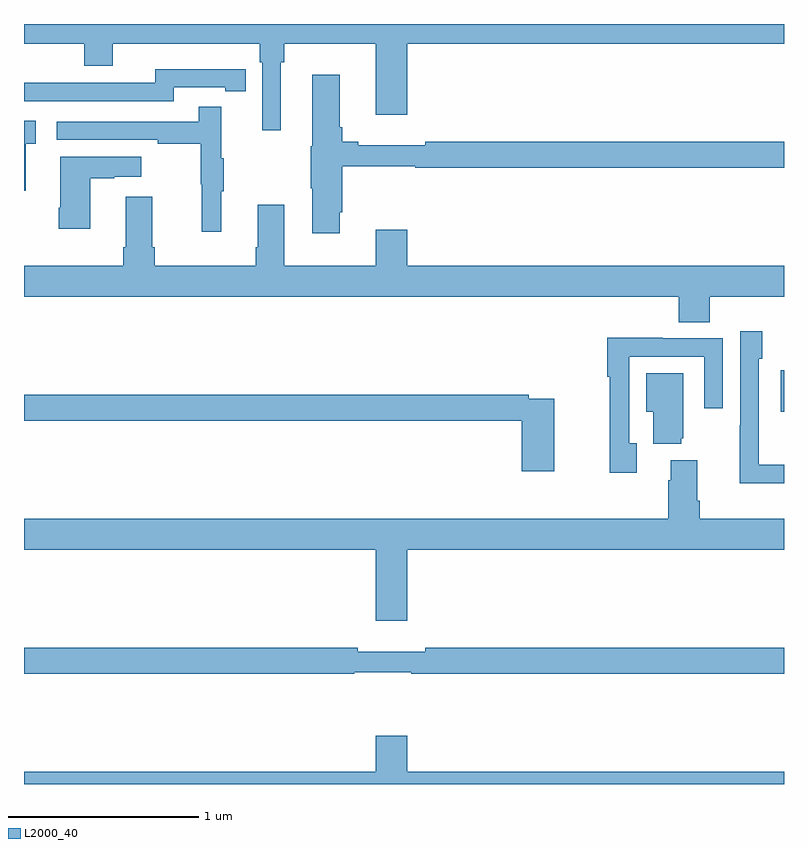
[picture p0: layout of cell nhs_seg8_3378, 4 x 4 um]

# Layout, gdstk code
import gdstk
lib = gdstk.Library(unit=1e-6, precision=1e-09)
def R(c, l, rs):  # rectangles x0, y0, x1, y1
    for r in rs: c.add(gdstk.rectangle(r[:2], r[2:], *l))
def P(c, l, *ps):  # polygons
    for p in ps: c.add(gdstk.Polygon(p, *l))
L2000_40 = (2000, 40)

nhs_seg8_3378 = lib.new_cell('nhs_seg8_3378')
R(nhs_seg8_3378, L2000_40, [(322.982,1151.858,323,1152.077)])
P(nhs_seg8_3378, L2000_40, [(320.35,1153.7),(320.369,1153.7),(320.369,1153.796),(320.852,1153.796),(320.852,1153.422),(321.016,1153.422),(321.016,1153.796),(323,1153.796),(323,1153.9),(319,1153.9),(319,1153.796),(319.316,1153.796),(319.316,1153.679),(319.468,1153.679),(319.468,1153.796),(320.24,1153.796),(320.24,1153.7),(320.253,1153.7),(320.253,1153.341),(320.35,1153.341)],
  [(319.788,1153.566),(320.06,1153.566),(320.06,1153.546),(320.168,1153.546),(320.168,1153.662),(320.06,1153.662),(320.06,1153.663),(319.692,1153.663),(319.692,1153.59),(319.232,1153.59),(319.232,1153.592),(319,1153.592),(319,1153.494),(319.788,1153.494)],
  [(320.662,1152.91),(320.675,1152.91),(320.675,1153.152),(321.058,1153.152),(321.058,1153.144),(323,1153.144),(323,1153.28),(321.112,1153.28),(321.112,1153.261),(320.758,1153.261),(320.758,1153.28),(320.675,1153.28),(320.675,1153.357),(320.662,1153.357),(320.662,1153.633),(320.516,1153.633),(320.516,1153.257),(320.509,1153.257),(320.509,1153.036),(320.516,1153.036),(320.516,1152.798),(320.662,1152.798)],
  [(320.039,1153.019),(320.05,1153.019),(320.05,1153.193),(320.039,1153.193),(320.039,1153.465),(319.921,1153.465),(319.921,1153.386),(319.173,1153.386),(319.173,1153.29),(319.705,1153.29),(319.705,1153.27),(319.929,1153.27),(319.929,1153.056),(319.936,1153.056),(319.936,1152.807),(320.039,1152.807)],
  [(319.01,1153.269),(319.063,1153.269),(319.063,1153.39),(319,1153.39),(319,1153.023),(319.01,1153.023)],
  [(319.348,1153.087),(319.475,1153.087),(319.475,1153.097),(319.618,1153.097),(319.618,1153.201),(319.19,1153.201),(319.19,1152.934),(319.183,1152.934),(319.183,1152.822),(319.348,1152.822)],
  [(322.61,1152.464),(323,1152.464),(323,1152.628),(321.016,1152.628),(321.016,1152.817),(320.852,1152.817),(320.852,1152.628),(320.371,1152.628),(320.371,1152.949),(320.231,1152.949),(320.231,1152.724),(320.219,1152.724),(320.219,1152.628),(319.688,1152.628),(319.688,1152.724),(319.675,1152.724),(319.675,1152.991),(319.535,1152.991),(319.535,1152.724),(319.523,1152.724),(319.523,1152.628),(319,1152.628),(319,1152.464),(322.445,1152.464),(322.445,1152.331),(322.61,1152.331)],
  [(323,1151.58),(322.866,1151.58),(322.866,1152.138),(322.885,1152.138),(322.885,1152.283),(322.77,1152.283),(322.77,1151.789),(322.768,1151.789),(322.768,1151.483),(323,1151.483)],
  [(322.225,1151.694),(322.185,1151.694),(322.185,1152.15),(322.581,1152.15),(322.581,1151.877),(322.677,1151.877),(322.677,1152.246),(322.361,1152.246),(322.361,1152.248),(322.069,1152.248),(322.069,1152.043),(322.084,1152.043),(322.084,1151.538),(322.225,1151.538)],
  [(322.46,1151.721),(322.471,1151.721),(322.471,1152.061),(322.274,1152.061),(322.274,1151.858),(322.313,1151.858),(322.313,1151.69),(322.46,1151.69)],
  [(321.79,1151.928),(321.656,1151.928),(321.656,1151.948),(319,1151.948),(319,1151.812),(321.62,1151.812),(321.62,1151.547),(321.79,1151.547)],
  [(321.016,1151.132),(323,1151.132),(323,1151.296),(322.556,1151.296),(322.556,1151.392),(322.543,1151.392),(322.543,1151.605),(322.403,1151.605),(322.403,1151.498),(322.391,1151.498),(322.391,1151.296),(319,1151.296),(319,1151.132),(320.852,1151.132),(320.852,1150.758),(321.016,1150.758)],
  [(320.738,1150.488),(321.038,1150.488),(321.038,1150.48),(323,1150.48),(323,1150.616),(321.112,1150.616),(321.112,1150.597),(320.756,1150.597),(320.756,1150.616),(319,1150.616),(319,1150.48),(320.738,1150.48)],
  [(323,1149.964),(321.016,1149.964),(321.016,1150.153),(320.852,1150.153),(320.852,1149.964),(319,1149.964),(319,1149.9),(323,1149.9)])

lib.write_gds('nhs_seg8_3378.gds')
